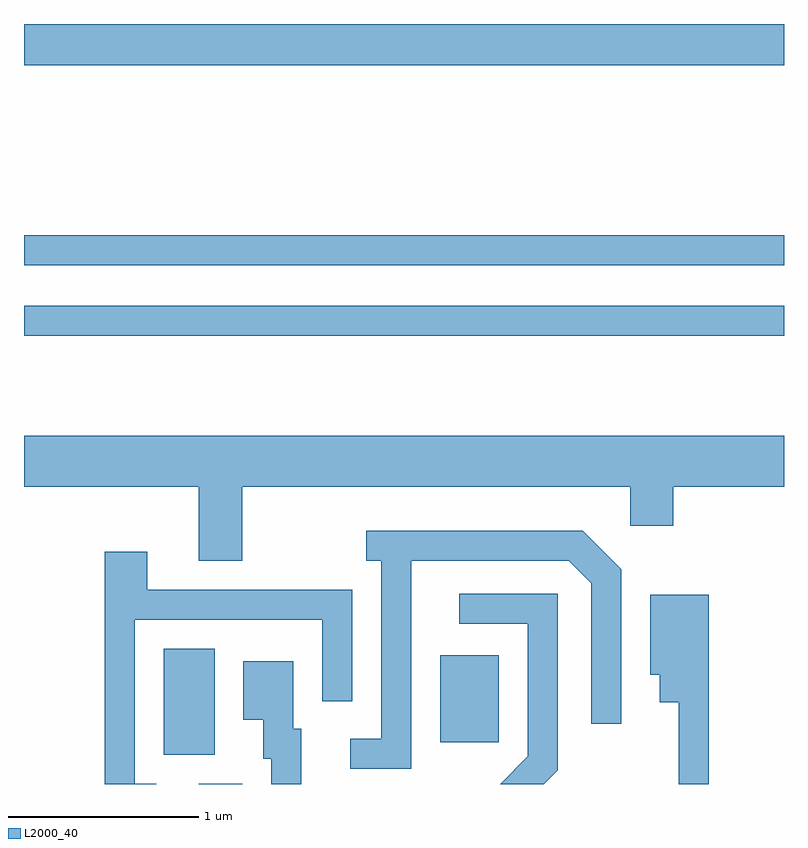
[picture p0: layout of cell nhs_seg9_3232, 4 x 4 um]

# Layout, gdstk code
import gdstk
lib = gdstk.Library(unit=1e-6, precision=1e-09)
def R(c, l, rs):  # rectangles x0, y0, x1, y1
    for r in rs: c.add(gdstk.rectangle(r[:2], r[2:], *l))
def P(c, l, *ps):  # polygons
    for p in ps: c.add(gdstk.Polygon(p, *l))
L2000_40 = (2000, 40)

nhs_seg9_3232 = lib.new_cell('nhs_seg9_3232')
R(nhs_seg9_3232, L2000_40, [(280.531,2032.432,280.759,2032.434), (280.346,2032.586,280.614,2033.144), (281.801,2032.651,282.109,2033.109), (279.611,2034.791,283.611,2034.949), (279.611,2035.161,283.611,2035.319), (279.611,2036.216,283.611,2036.432)])
P(nhs_seg9_3232, L2000_40, [(280.759,2033.996),(282.801,2033.996),(282.801,2033.791),(283.029,2033.791),(283.029,2033.996),(283.611,2033.996),(283.611,2034.264),(279.611,2034.264),(279.611,2033.996),(280.531,2033.996),(280.531,2033.606),(280.759,2033.606)],
  [(281.649,2033.606),(282.479,2033.606),(282.596,2033.489),(282.596,2032.748),(282.754,2032.748),(282.754,2033.562),(282.552,2033.764),(281.413,2033.764),(281.413,2033.606),(281.491,2033.606),(281.491,2032.669),(281.328,2032.669),(281.328,2032.511),(281.649,2032.511)],
  [(280.308,2032.434),(280.194,2032.434),(280.194,2033.296),(281.181,2033.296),(281.181,2032.868),(281.339,2032.868),(281.339,2033.454),(280.259,2033.454),(280.259,2033.654),(280.036,2033.654),(280.036,2032.432),(280.308,2032.432)],
  [(282.419,2032.504),(282.419,2033.434),(281.903,2033.434),(281.903,2033.276),(282.261,2033.276),(282.261,2032.577),(282.117,2032.432),(282.347,2032.432)],
  [(283.214,2033.429),(282.906,2033.429),(282.906,2033.006),(282.956,2033.006),(282.956,2032.861),(283.056,2032.861),(283.056,2032.432),(283.214,2032.432)],
  [(281.069,2032.724),(281.029,2032.724),(281.029,2033.079),(280.766,2033.079),(280.766,2032.771),(280.871,2032.771),(280.871,2032.566),(280.911,2032.566),(280.911,2032.432),(281.069,2032.432)])

lib.write_gds('nhs_seg9_3232.gds')
